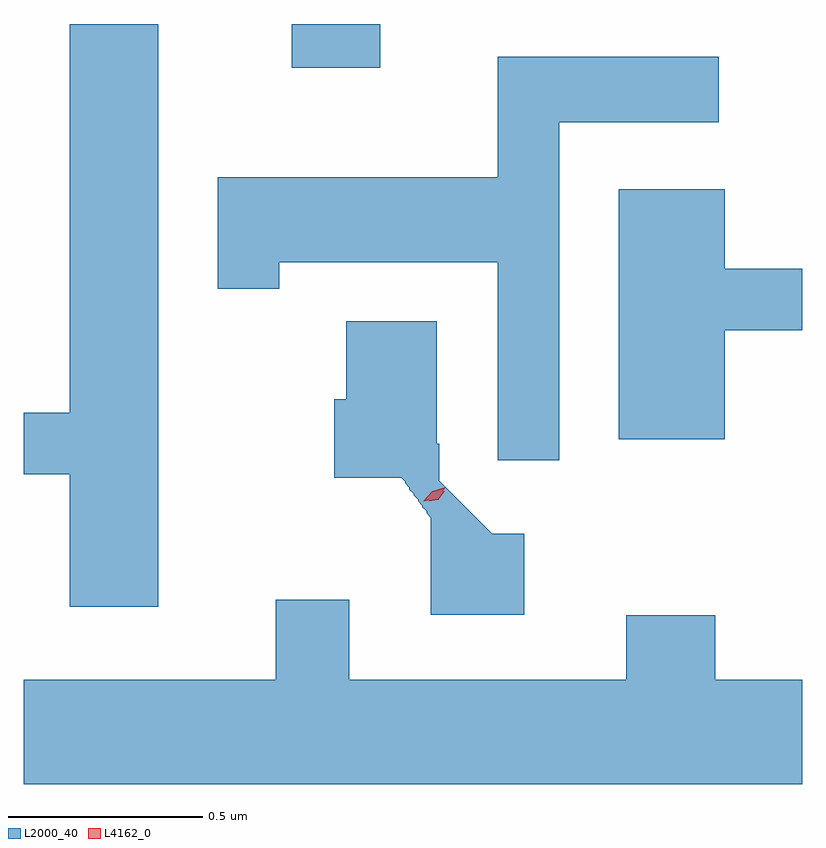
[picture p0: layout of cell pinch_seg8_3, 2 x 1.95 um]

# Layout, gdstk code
import gdstk
lib = gdstk.Library(unit=1e-6, precision=1e-09)
def R(c, l, rs):  # rectangles x0, y0, x1, y1
    for r in rs: c.add(gdstk.rectangle(r[:2], r[2:], *l))
def P(c, l, *ps):  # polygons
    for p in ps: c.add(gdstk.Polygon(p, *l))
L2000_40 = (2000, 40)
L4162_0 = (4162, 0)

pinch_seg8_3 = lib.new_cell('pinch_seg8_3')
R(pinch_seg8_3, L2000_40, [(1711.401,1924.836,1711.629,1924.948)])
P(pinch_seg8_3, L2000_40, [(1711.059,1924.948),(1710.831,1924.948),(1710.831,1923.949),(1710.713,1923.949),(1710.713,1923.791),(1710.831,1923.791),(1710.831,1923.451),(1711.059,1923.451)],
  [(1712.089,1924.696),(1712.498,1924.696),(1712.498,1924.864),(1711.931,1924.864),(1711.931,1924.554),(1711.211,1924.554),(1711.211,1924.268),(1711.369,1924.268),(1711.369,1924.336),(1711.931,1924.336),(1711.931,1923.828),(1712.089,1923.828)],
  [(1712.514,1924.161),(1712.713,1924.161),(1712.713,1924.319),(1712.514,1924.319),(1712.514,1924.524),(1712.241,1924.524),(1712.241,1923.881),(1712.514,1923.881)],
  [(1711.999,1923.639),(1711.917,1923.639),(1711.781,1923.775),(1711.781,1923.87),(1711.774,1923.87),(1711.774,1924.184),(1711.541,1924.184),(1711.541,1923.984),(1711.511,1923.984),(1711.511,1923.782),(1711.683,1923.782),(1711.693,1923.772),(1711.693,1923.768),(1711.704,1923.757),(1711.704,1923.752),(1711.715,1923.741),(1711.715,1923.737),(1711.726,1923.726),(1711.726,1923.722),(1711.737,1923.711),(1711.737,1923.707),(1711.748,1923.696),(1711.748,1923.691),(1711.759,1923.68),(1711.759,1923.431),(1711.999,1923.431)],
  [(1712.713,1923.264),(1712.489,1923.264),(1712.489,1923.429),(1712.261,1923.429),(1712.261,1923.264),(1711.549,1923.264),(1711.549,1923.469),(1711.361,1923.469),(1711.361,1923.264),(1710.713,1923.264),(1710.713,1922.996),(1712.713,1922.996)])
P(pinch_seg8_3, L4162_0, [(1711.741,1923.722),(1711.741,1923.723),(1711.763,1923.748),(1711.796,1923.758),(1711.796,1923.758),(1711.796,1923.757),(1711.774,1923.731),(1711.742,1923.722)],
  [(1711.751,1923.722),(1711.752,1923.722),(1711.767,1923.743),(1711.792,1923.748),(1711.793,1923.748),(1711.793,1923.747),(1711.778,1923.726),(1711.752,1923.722)])

lib.write_gds('pinch_seg8_3.gds')
